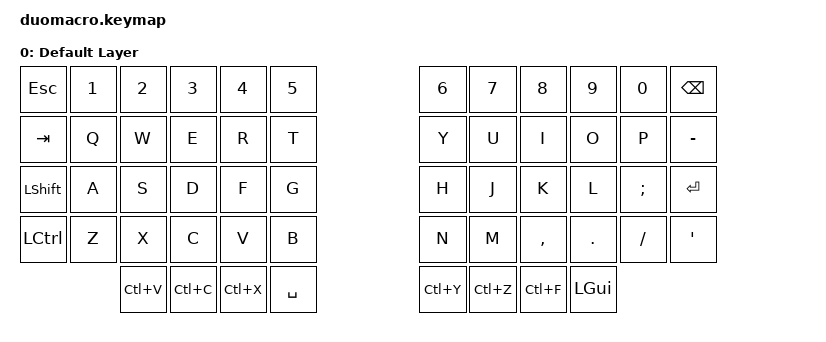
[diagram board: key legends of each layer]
#include <behaviors.dtsi>
#include <dt-bindings/zmk/keys.h>

/ {
    keymap {
        compatible = "zmk,keymap";
        default_layer {
            display-name = "Default Layer";
            bindings = <
&kp ESC           &kp N1  &kp N2  &kp N3     &kp N4     &kp N5                                &kp N6     &kp N7     &kp N8     &kp N9   &kp N0    &kp BACKSPACE
&kp TAB           &kp Q   &kp W   &kp E      &kp R      &kp T                                 &kp Y      &kp U      &kp I      &kp O    &kp P     &kp MINUS
&kp LEFT_SHIFT    &kp A   &kp S   &kp D      &kp F      &kp G                                 &kp H      &kp J      &kp K      &kp L    &kp SEMI  &kp ENTER
&kp LEFT_CONTROL  &kp Z   &kp X   &kp C      &kp V      &kp B                                 &kp N      &kp M      &kp COMMA  &kp DOT  &kp FSLH  &kp SINGLE_QUOTE
                          &kp LC(V)  &kp LC(C)  &kp LC(X)  &kp SPACE                          &kp LC(Y)  &kp LC(Z)  &kp LC(F)  &kp LEFT_GUI
            >;
        };
    };
};
